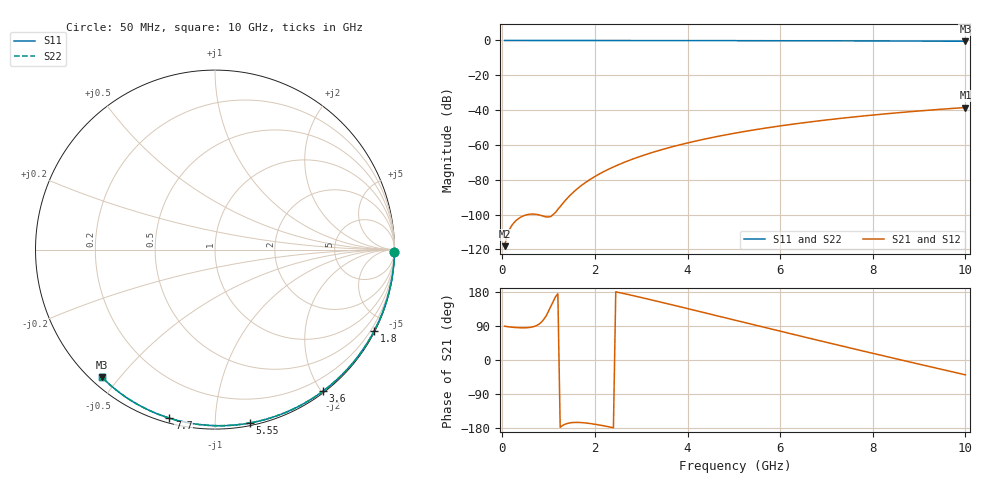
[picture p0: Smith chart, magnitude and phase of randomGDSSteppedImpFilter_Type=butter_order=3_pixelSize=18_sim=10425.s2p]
! freq	dB(S11)	phase(S11)	dB(S12)	phase(S12)
!  dB(S21)	phase(S21)	dB(S22)	phase(S22)
!S-par simulation data
#  GHz  S  DB  R 50
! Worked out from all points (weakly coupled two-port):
!   200 points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, 50 MHz to 10 GHz, reference 50 ohm
!   highest |S21| = -38.50 dB at 10 GHz (marker M1); lowest = -118.1 dB at 50 MHz (marker M2)
!   lowest |S11| = -0.4 dB at 10 GHz (marker M3), VSWR 39.05, Z = 1.54 - j22.5 ohm
!   |S11| at or under -10 dB: nowhere
!   |S22| runs from -0.4 to 0.0 dB; largest |S21 - S12| = 0
!   S11 on the Smith chart (normalised r, x): 50 MHz: open; 1.8 GHz: 0.04, -4.17; 3.6 GHz: 0.02, -2.02; 5.55 GHz: 0.02, -1.22; 7.7 GHz: 0.02, -0.77; 10 GHz: 0.03, -0.45
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0.05  -0.00 -0.8  -118.09 89.0  -118.09 89.0  -0.00 -0.8
0.9  -0.02 -13.6  -101.01 108.1  -101.01 108.1  -0.02 -13.6
1.75  -0.03 -26.2  -82.42 -165.6  -82.42 -165.6  -0.03 -26.2
1.8  -0.03 -27.0  -81.48 -166.2  -81.48 -166.2  -0.03 -27.0
1.85  -0.04 -27.7  -80.58 -166.9  -80.58 -166.9  -0.04 -27.7
1.9  -0.04 -28.4  -79.72 -167.7  -79.72 -167.7  -0.04 -28.4
2.05  -0.04 -30.6  -77.32 -170.5  -77.32 -170.5  -0.04 -30.6
2.25  -0.04 -33.5  -74.50 -175.0  -74.50 -175.0  -0.04 -33.5
2.45  -0.05 -36.4  -72.01 180.0  -72.01 180.0  -0.05 -36.4
2.65  -0.05 -39.3  -69.78 174.7  -69.78 174.7  -0.05 -39.3
3  -0.06 -44.3  -66.36 164.9  -66.36 164.9  -0.06 -44.3
3.4  -0.07 -49.9  -63.02 153.4  -63.02 153.4  -0.07 -49.9
3.6  -0.07 -52.7  -61.52 147.5  -61.52 147.5  -0.07 -52.7
4.3  -0.09 -62.3  -57.01 126.8  -57.01 126.8  -0.09 -62.3
5.05  -0.11 -72.3  -53.08 104.4  -53.08 104.4  -0.11 -72.3
5.55  -0.13 -78.7  -50.85 89.4  -50.85 89.4  -0.13 -78.7
6.1  -0.15 -85.7  -48.68 73.1  -48.68 73.1  -0.15 -85.7
6.7  -0.18 -93.1  -46.59 55.4  -46.59 55.4  -0.18 -93.1
7.7  -0.24 -105.1  -43.61 26.2  -43.61 26.2  -0.24 -105.1
8.35  -0.29 -112.7  -41.95 7.6  -41.95 7.6  -0.29 -112.7
9.15  -0.36 -121.9  -40.15 -15.2  -40.15 -15.2  -0.36 -121.9
10  -0.44 -131.6  -38.50 -39.2  -38.50 -39.2  -0.44 -131.6
